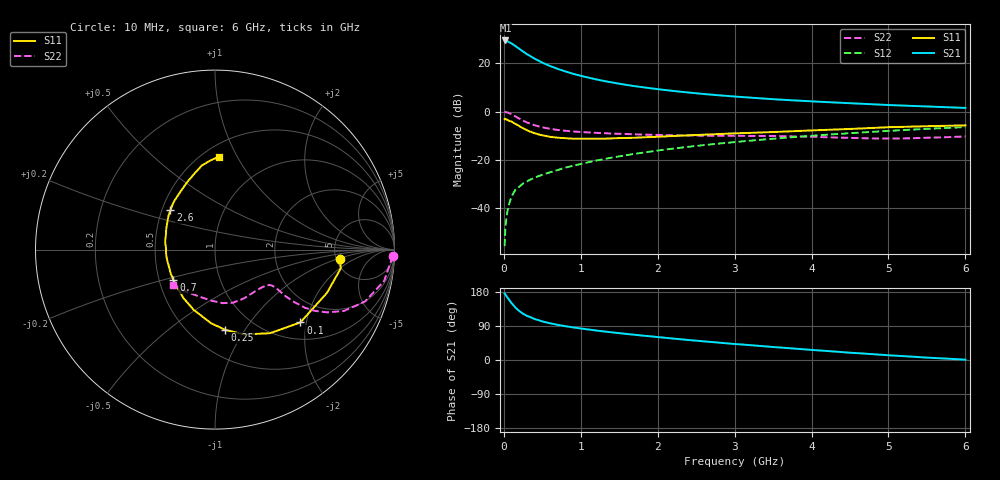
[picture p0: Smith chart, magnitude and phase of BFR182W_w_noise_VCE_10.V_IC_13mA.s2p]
! (c) 2017  Infineon Technologies AG, Munich
! Infineon Technologies  Discrete & RF Semiconductors
! BFR182W
! VCE =  10. V,  IC =  13 mA
! Common Emitter S-Parameters:  Jan 2017
# GHz  S  MA  R  50
!  f  S11  S21  S12  S22
! GHz  MAG  ANG  MAG  ANG  MAG  ANG  MAG  ANG
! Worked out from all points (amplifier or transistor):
!   77 points, 10 MHz to 6 GHz, reference 50 ohm
!   highest |S21| = 29.6 dB at 20 MHz (marker M1)
!   |S21| within 3 dB of that: start of sweep to 179.9 MHz
!   unconditionally stable (mu >= 1): 987.9 MHz to 2.553 GHz
!   at 130 MHz: K = 0.34, MSG = 30.6 dB, |S12| = -33.6 dB
!   at 2.2 GHz: K = 1.02, MAG = 11.2 dB, |S12| = -15.4 dB
!   at 6 GHz: K = 0.86, MSG = 4.0 dB, |S12| = -6.4 dB
!   lowest NFmin = 1.17 dB at 450 MHz
!   S11 on the Smith chart (normalised r, x): 10 MHz: 5.40, -1.08; 100 MHz: 1.38, -1.85; 250 MHz: 0.73, -0.82; 700 MHz: 0.59, -0.22; 2.6 GHz: 0.55, +0.27; 6 GHz: 0.60, +0.85
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0.01  0.6979 -4.2  30.07 175.7  0.0016 84.7  0.9905 -2.0
0.02  0.7087 -8.4  30.1 173.0  0.0038 89.1  0.9805 -4.3
0.05  0.669 -21.1  28.82 163.8  0.0091 79.2  0.9583 -10.5
0.1  0.6252 -40.5  26.16 150.0  0.017 72.9  0.8842 -19.1
0.15  0.5574 -56.7  23.09 138.4  0.0237 66.6  0.7962 -25.4
0.2  0.5002 -70.9  20.19 129.3  0.0274 65.5  0.7173 -29.2
0.25  0.4506 -82.8  17.74 122.0  0.0321 63.3  0.6504 -31.6
0.3  0.4113 -92.9  15.63 116.5  0.0354 62.0  0.5957 -32.9
0.4  0.3562 -109.4  12.58 108.0  0.0425 62.5  0.5202 -33.6
0.5  0.3225 -122.9  10.41 101.8  0.0487 63.1  0.4719 -33.4
0.6  0.2998 -134.0  8.889 96.9  0.0549 63.8  0.4385 -32.9
0.7  0.2872 -143.8  7.72 92.8  0.0611 65.7  0.4162 -32.4
0.9  0.2737 -159.2  6.11 86.0  0.0749 66.6  0.387 -32.2
1.1  0.2735 -171.7  5.081 80.5  0.0888 67.5  0.3692 -32.6
1.3  0.273 178.0  4.336 75.4  0.1029 67.8  0.3563 -33.8
1.5  0.2818 170.2  3.8 70.9  0.1177 67.6  0.3455 -35.7
2.1  0.3056 150.5  2.807 58.6  0.1628 65.7  0.3247 -44.6
2.6  0.3316 138.6  2.321 49.2  0.2013 63.0  0.3165 -54.4
3.1  0.3575 127.8  2.007 40.8  0.2406 59.7  0.3134 -64.2
4.1  0.4124 110.9  1.605 25.2  0.3228 51.9  0.2969 -84.3
5.1  0.4787 97.6  1.352 11.3  0.4057 42.8  0.2761 -113.4
6  0.5181 87.5  1.194 0.8  0.4775 33.8  0.3054 -140.4
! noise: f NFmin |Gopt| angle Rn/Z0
0.45  1.17  0.04  108  0.14
0.9  1.26  0.05  122  0.14
1.9  1.73  0.23  -151  0.14
2.4  2  0.22  -136  0.21
